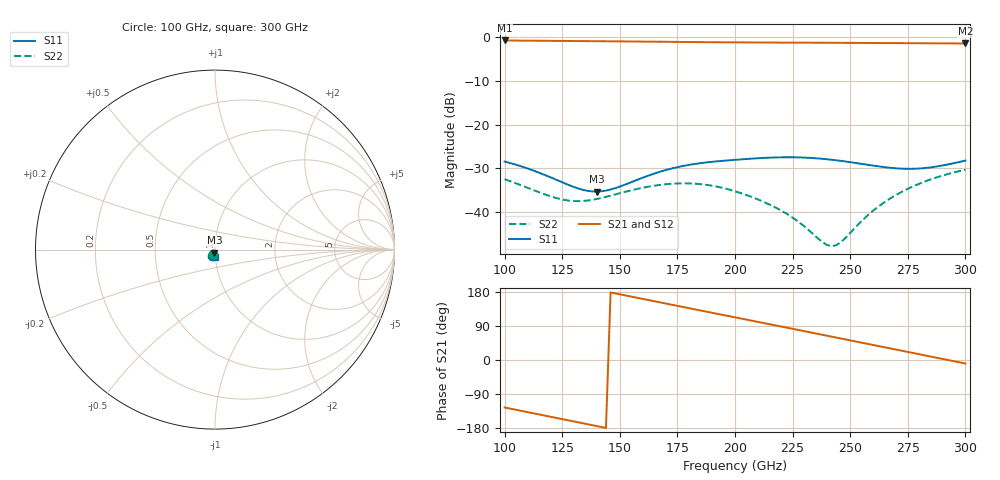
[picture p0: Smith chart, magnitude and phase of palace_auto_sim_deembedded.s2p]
! Created with skrf 1.11.0 (http://scikit-rf.org).
# GHz S DB R 50.0
!freq dBS11 angS11 dBS21 angS21 dBS12 angS12 dBS22 angS22
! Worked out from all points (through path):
!   101 points, 100 GHz to 300 GHz, reference 50 ohm
!   highest |S21| = -0.76 dB at 100 GHz (marker M1); lowest = -1.5 dB at 300 GHz (marker M2)
!   group delay of S21, straight-line fit = 3.38 ps
!   lowest |S11| = -35.3 dB at 140 GHz (marker M3), VSWR 1.03, Z = 49.6 - j1.67 ohm
!   |S11| at or under -10 dB: start of sweep to end of sweep
!   |S22| runs from -47.8 to -30.3 dB; largest |S21 - S12| = 9.9e-14
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100  -28.44 -115.1  -0.76 -125.3  -0.76 -125.3  -32.47 -112.7
112  -30.40 -123.2  -0.81 -140.0  -0.81 -140.0  -34.85 -117.9
122  -32.50 -124.2  -0.86 -152.3  -0.86 -152.3  -36.71 -114.7
128  -33.82 -120.6  -0.88 -159.7  -0.88 -159.7  -37.37 -109.4
134  -34.90 -112.8  -0.91 -167.0  -0.91 -167.0  -37.44 -103.4
140  -35.30 -101.9  -0.93 -174.4  -0.93 -174.4  -36.99 -98.8
146  -34.82 -91.2  -0.96 178.3  -0.96 178.3  -36.23 -96.8
154  -33.35 -82.2  -0.99 168.5  -0.99 168.5  -35.13 -98.4
168  -30.68 -80.4  -1.06 151.4  -1.06 151.4  -33.73 -109.4
184  -28.87 -87.3  -1.14 131.9  -1.14 131.9  -33.55 -128.2
200  -28.04 -94.4  -1.20 112.6  -1.20 112.6  -35.22 -146.6
210  -27.68 -98.4  -1.23 100.5  -1.23 100.5  -37.11 -154.5
220  -27.47 -103.0  -1.25 88.4  -1.25 88.4  -39.62 -158.6
228  -27.49 -106.9  -1.27 78.6  -1.27 78.6  -42.38 -157.3
234  -27.64 -109.6  -1.28 71.3  -1.28 71.3  -45.06 -149.1
240  -27.91 -111.8  -1.29 64.0  -1.29 64.0  -47.52 -126.5
244  -28.15 -112.9  -1.30 59.1  -1.30 59.1  -47.53 -103.9
248  -28.42 -113.6  -1.31 54.2  -1.31 54.2  -45.86 -85.3
258  -29.21 -113.1  -1.34 42.0  -1.34 42.0  -40.53 -69.9
268  -29.89 -108.9  -1.36 29.8  -1.36 29.8  -36.66 -72.9
284  -29.83 -97.1  -1.41 10.3  -1.41 10.3  -32.69 -87.9
300  -28.22 -89.5  -1.45 -9.3  -1.45 -9.3  -30.31 -107.0
